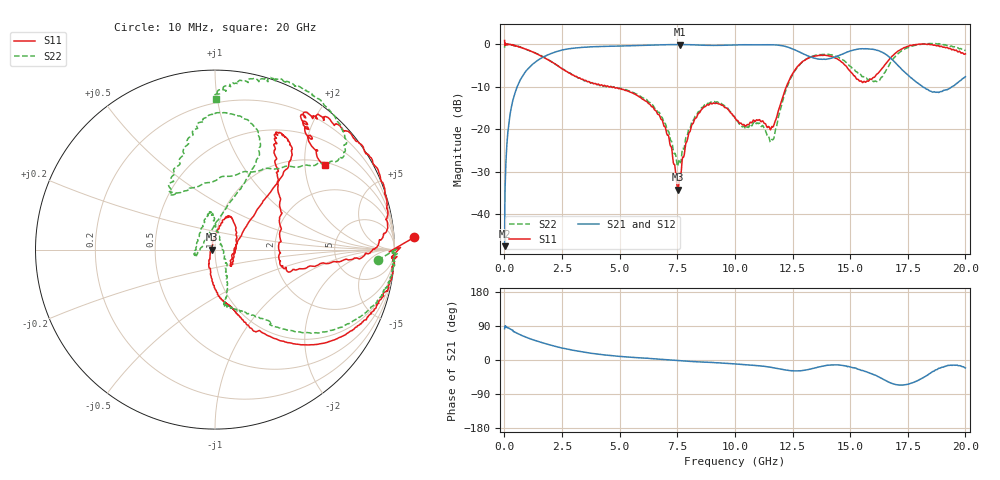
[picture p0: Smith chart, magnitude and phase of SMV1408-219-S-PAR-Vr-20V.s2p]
! Skyworks SMV1408-219 De-embedded S-Parameter Data
! Created  11-5-2013
! 2 Port Network Data
! Mounted on Board # SK41159-3 Rev 1 in Series, Cathode is connected to RF1 as Input( Pin 1) and Anode is connected RF2 as Output(Pin 2)
! Temperature = +25 °C
! RF traces and connectors are de-embedded using TRL calibration and standards
! Reference planes are package pins
! Pin 1 Input port (S-Port1), Pin 2 Output port (S-port2)
! Pin = 0 dBm, Bias: Vr = 20V
! Dev # 1
#  HZ  S  DB  R  50.00
! Rohde & Schwarz ZVA24 4Ports - Version 2.90 - 1145.1110k26 SN: 100216
! Date: 2013-11-05 15:27:38
! Measurements: S11 S21 S12 S22
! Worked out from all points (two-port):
!   2000 points, 10 MHz to 20 GHz, reference 50 ohm
!   highest |S21| = -0.05 dB at 7.6 GHz (marker M1); lowest = -47.5 dB at 10 MHz (marker M2)
!   |S21| within 3 dB of the highest: 1.668 GHz to 13.32 GHz (11.66 GHz wide, 156 % of centre); 14.31 GHz to 16.71 GHz (2.398 GHz wide, 15.5 % of centre)
!   lowest |S11| = -34.3 dB at 7.53 GHz (marker M3), VSWR 1.04, Z = 48.1 - j0.0565 ohm
!   |S11| at or under -10 dB: 4.526 GHz to 4.578 GHz (52.49 MHz wide, 1.15 % of centre); 4.639 GHz to 12.23 GHz (7.592 GHz wide, 90 % of centre)
!   |S22| runs from -28.7 to 0.2 dB; largest |S21 - S12| = 0.037
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1e7  0.91 3.5  -47.54 82.6  -44.33 108.2  -0.83 -3.7
1.2e8  -0.06 -4.9  -22.71 85.7  -22.67 86.4  0.06 -4.3
2e8  -0.01 -7.6  -18.32 83.4  -18.33 83.6  -0.07 -6.9
6.5e8  -0.61 -23.7  -8.82 67.8  -8.84 67.8  -0.55 -19.3
1.7e9  -3.06 -48.7  -2.96 44.6  -2.96 44.7  -2.96 -40.9
3.35e9  -8.23 -70.4  -0.73 21.7  -0.73 21.6  -8.28 -65.1
6.68e9  -16.53 -98.2  -0.14 2.2  -0.15 2.5  -16.04 -66.8
7.17e9  -23.10 -119.1  -0.08 0.2  -0.09 0.2  -21.51 -43.8
7.53e9  -34.27 -178.3  -0.05 -1.7  -0.06 -1.6  -28.46 3.2
7.6e9  -31.79 133.6  -0.05 -1.9  -0.06 -1.9  -27.15 34.7
8.05e9  -20.57 81.5  -0.09 -3.6  -0.10 -4.0  -19.80 86.1
8.59e9  -15.19 73.4  -0.21 -5.5  -0.21 -5.5  -14.87 94.0
1.001e10  -17.32 27.4  -0.13 -10.3  -0.14 -10.3  -17.47 125.6
1.161e10  -19.35 -7.8  -0.12 -19.9  -0.12 -19.8  -22.39 141.6
1.242e10  -7.71 45.6  -0.91 -28.3  -0.90 -28.6  -8.00 66.3
1.334e10  -2.91 53.6  -3.10 -22.9  -3.10 -22.6  -2.85 72.6
1.449e10  -3.61 59.6  -2.70 -13.0  -2.71 -12.5  -3.01 98.0
1.564e10  -8.85 -3.4  -1.04 -30.0  -1.04 -29.7  -7.96 126.8
1.667e10  -3.72 -6.4  -2.87 -57.9  -2.88 -57.9  -5.15 54.4
1.772e10  -0.15 11.5  -8.22 -59.7  -8.22 -59.5  -0.39 41.0
1.89e10  -0.53 50.0  -11.17 -21.5  -11.16 -20.4  0.04 70.4
2e10  -2.24 37.5  -7.62 -20.9  -7.63 -20.2  -1.50 89.5
